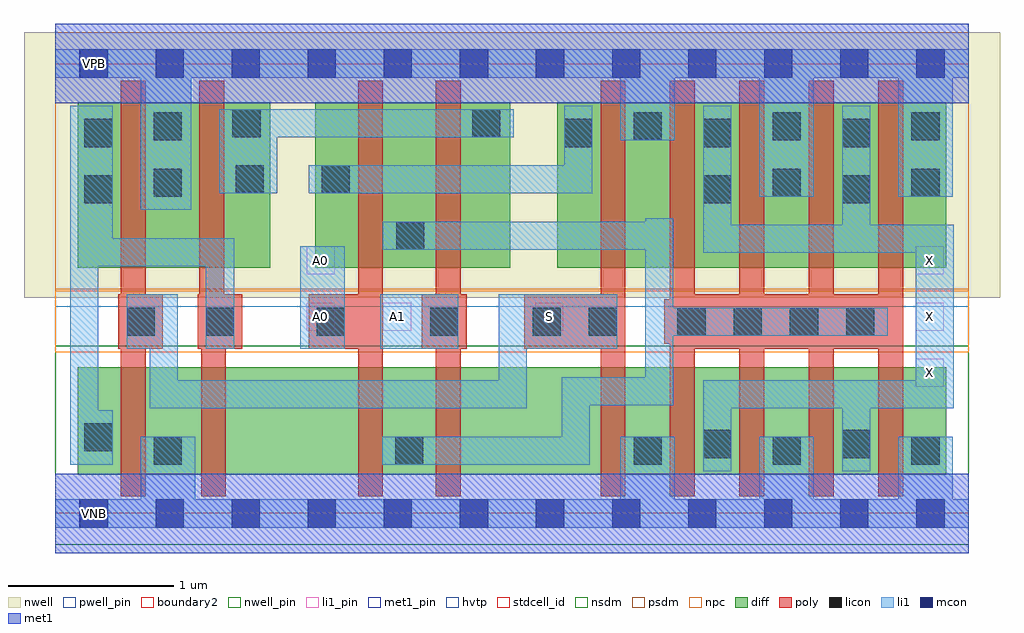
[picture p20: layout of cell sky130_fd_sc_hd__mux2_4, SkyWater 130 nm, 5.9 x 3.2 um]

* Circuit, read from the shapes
.subckt sky130_fd_sc_hd__mux2_4 A0 A1 S VGND VNB VPB VPWR X
XM1 VGND S n1 VNB sky130_fd_pr__nfet_01v8 w=0.65 l=0.15
XM2 n2 n1 VGND VNB sky130_fd_pr__nfet_01v8 w=0.65 l=0.15
XM3 n3 A0 n2 VNB sky130_fd_pr__nfet_01v8 w=0.65 l=0.15
XM4 n4 A1 n3 VNB sky130_fd_pr__nfet_01v8 w=0.65 l=0.15
XM5 VGND S n4 VNB sky130_fd_pr__nfet_01v8 w=0.65 l=0.15
XM6 X n3 VGND VNB sky130_fd_pr__nfet_01v8 w=0.65 l=0.15 m=4
XM7 VPWR S n1 VPB sky130_fd_pr__pfet_01v8_hvt w=1 l=0.15
XM8 n5 n1 VPWR VPB sky130_fd_pr__pfet_01v8_hvt w=1 l=0.15
XM9 n3 A0 n6 VPB sky130_fd_pr__pfet_01v8_hvt w=1 l=0.15
XM10 n5 A1 n3 VPB sky130_fd_pr__pfet_01v8_hvt w=1 l=0.15
XM11 VPWR S n6 VPB sky130_fd_pr__pfet_01v8_hvt w=1 l=0.15
XM12 X n3 VPWR VPB sky130_fd_pr__pfet_01v8_hvt w=1 l=0.15 m=4
.ends

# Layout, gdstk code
import gdstk
lib = gdstk.Library(unit=1e-6, precision=1e-09)
def R(c, l, rs):  # rectangles x0, y0, x1, y1
    for r in rs: c.add(gdstk.rectangle(r[:2], r[2:], *l))
def A(c, l, x, y, w, h, nx, ny, dx, dy):  # array of equal rectangles
    R(c, l, [(x+i*dx, y+j*dy, x+i*dx+w, y+j*dy+h) for i in range(nx) for j in range(ny)])
def P(c, l, *ps):  # polygons
    for p in ps: c.add(gdstk.Polygon(p, *l))
nwell_pin = (64, 16)
nwell = (64, 20)
diff = (65, 20)
poly = (66, 20)
licon = (66, 44)
li1_pin = (67, 16)
li1 = (67, 20)
mcon = (67, 44)
met1_pin = (68, 16)
met1 = (68, 20)
hvtp = (78, 44)
stdcell_id = (81, 4)
nsdm = (93, 44)
psdm = (94, 20)
npc = (95, 20)
pwell_pin = (122, 16)
boundary2 = (236, 0)

sky130_fd_sc_hd__mux2_4 = lib.new_cell('sky130_fd_sc_hd__mux2_4')
R(sky130_fd_sc_hd__mux2_4, nwell_pin, [(0.15,2.635,0.32,2.805)])
R(sky130_fd_sc_hd__mux2_4, nwell, [(-0.19,1.305,5.71,2.91)])
R(sky130_fd_sc_hd__mux2_4, diff, [(0.135,0.235,5.385,0.885), (0.135,1.485,1.3,2.485), (1.57,1.485,2.75,2.485), (3.035,1.485,5.385,2.485)])
P(sky130_fd_sc_hd__mux2_4, poly, [(5.125,2.615),(4.975,2.615),(4.975,1.325),(4.705,1.325),(4.705,2.615),(4.555,2.615),(4.555,1.325),(4.285,1.325),(4.285,2.615),(4.135,2.615),(4.135,1.325),(3.865,1.325),(3.865,2.615),(3.715,2.615),(3.715,1.295),(3.68,1.295),(3.68,1.025),(3.715,1.025),(3.715,0.105),(3.865,0.105),(3.865,0.995),(4.135,0.995),(4.135,0.105),(4.285,0.105),(4.285,0.995),(4.555,0.995),(4.555,0.105),(4.705,0.105),(4.705,0.995),(4.975,0.995),(4.975,0.105),(5.125,0.105)],
  [(3.445,2.615),(3.295,2.615),(3.295,1.325),(2.835,1.325),(2.835,0.995),(3.295,0.995),(3.295,0.105),(3.445,0.105)],
  [(0.65,1.325),(0.545,1.325),(0.545,2.615),(0.395,2.615),(0.395,1.325),(0.38,1.325),(0.38,0.995),(0.395,0.995),(0.395,0.105),(0.545,0.105),(0.545,0.995),(0.65,0.995)],
  [(2.485,1.325),(2.45,1.325),(2.45,2.615),(2.3,2.615),(2.3,1.325),(2.215,1.325),(2.215,0.995),(2.3,0.995),(2.3,0.105),(2.45,0.105),(2.45,0.995),(2.485,0.995)],
  [(1.98,2.615),(1.83,2.615),(1.83,1.325),(1.53,1.325),(1.53,0.995),(1.83,0.995),(1.83,0.105),(1.98,0.105)],
  [(1.13,1.325),(1.02,1.325),(1.02,2.615),(0.87,2.615),(0.87,1.325),(0.86,1.325),(0.86,0.995),(0.88,0.995),(0.88,0.105),(1.03,0.105),(1.03,0.995),(1.13,0.995)])
A(sky130_fd_sc_hd__mux2_4, licon, 3.495, 0.295, 0.17, 0.17, 3, 2, 0.84, 1.96)
A(sky130_fd_sc_hd__mux2_4, licon, 3.76, 1.075, 0.17, 0.17, 4, 1, 0.34, 0)
A(sky130_fd_sc_hd__mux2_4, licon, 3.075, 2.215, 0.17, 0.17, 3, 1, 0.84, 0)
R(sky130_fd_sc_hd__mux2_4, licon, [(0.595,0.295,0.765,0.465), (2.055,0.295,2.225,0.465), (3.915,0.335,4.085,0.505), (4.755,0.335,4.925,0.505), (0.175,0.375,0.345,0.545), (0.43,1.075,0.6,1.245), (0.91,1.075,1.08,1.245), (1.58,1.075,1.75,1.245), (2.265,1.075,2.435,1.245), (2.885,1.075,3.055,1.245), (3.225,1.075,3.395,1.245), (2.06,1.595,2.23,1.765), (0.175,1.875,0.345,2.045), (3.915,1.875,4.085,2.045), (4.755,1.875,4.925,2.045), (0.595,1.915,0.765,2.085), (4.335,1.915,4.505,2.085), (5.175,1.915,5.345,2.085), (1.09,1.935,1.26,2.105), (1.61,1.935,1.78,2.105), (0.175,2.215,0.345,2.385), (0.595,2.255,0.765,2.425), (1.07,2.275,1.24,2.445), (2.52,2.275,2.69,2.445)])
A(sky130_fd_sc_hd__mux2_4, li1_pin, 5.2, 0.765, 0.17, 0.17, 1, 3, 0, 0.34)
R(sky130_fd_sc_hd__mux2_4, li1_pin, [(1.52,1.105,1.69,1.275), (1.98,1.105,2.15,1.275), (2.9,1.105,3.07,1.275), (1.52,1.445,1.69,1.615)])
R(sky130_fd_sc_hd__mux2_4, li1, [(1.48,0.995,1.75,1.615), (1.965,0.995,2.435,1.325)])
P(sky130_fd_sc_hd__mux2_4, li1, [(5.52,0.085),(5.425,0.085),(5.425,0.465),(5.095,0.465),(5.095,0.085),(4.585,0.085),(4.585,0.465),(4.255,0.465),(4.255,0.085),(3.745,0.085),(3.745,0.465),(3.415,0.465),(3.415,0.085),(0.845,0.085),(0.845,0.465),(0.515,0.465),(0.515,0.085),(0,0.085),(0,-0.085),(5.52,-0.085)],
  [(5.52,2.805),(0,2.805),(0,2.635),(0.515,2.635),(0.515,1.835),(0.82,1.835),(0.82,2.635),(3.415,2.635),(3.415,2.255),(3.745,2.255),(3.745,2.635),(4.255,2.635),(4.255,1.915),(4.585,1.915),(4.585,2.635),(5.095,2.635),(5.095,1.915),(5.425,1.915),(5.425,2.635),(5.52,2.635)],
  [(5.43,1.745),(4.925,1.745),(4.925,2.465),(4.755,2.465),(4.755,1.745),(4.085,1.745),(4.085,2.465),(3.915,2.465),(3.915,1.575),(5.2,1.575),(5.2,0.805),(3.915,0.805),(3.915,0.255),(4.085,0.255),(4.085,0.635),(4.755,0.635),(4.755,0.255),(4.925,0.255),(4.925,0.635),(5.43,0.635)],
  [(1.08,1.665),(0.345,1.665),(0.345,2.465),(0.09,2.465),(0.09,0.295),(0.345,0.295),(0.345,0.625),(0.26,0.625),(0.26,1.495),(0.91,1.495),(0.91,0.995),(1.08,0.995)],
  [(5.03,1.245),(3.735,1.245),(3.735,1.785),(3.565,1.785),(3.565,1.765),(1.98,1.765),(1.98,1.595),(3.565,1.595),(3.565,0.825),(3.06,0.825),(3.06,0.465),(1.975,0.465),(1.975,0.295),(3.23,0.295),(3.23,0.655),(3.735,0.655),(3.735,1.075),(5.03,1.075)],
  [(3.395,1.325),(2.68,1.325),(2.68,0.805),(0.74,0.805),(0.74,1.325),(0.43,1.325),(0.43,0.995),(0.57,0.995),(0.57,0.635),(2.85,0.635),(2.85,0.995),(3.395,0.995)],
  [(2.77,2.445),(0.99,2.445),(0.99,1.935),(1.34,1.935),(1.34,2.275),(2.77,2.275)],
  [(3.245,2.465),(3.075,2.465),(3.075,2.105),(1.53,2.105),(1.53,1.935),(3.245,1.935)])
A(sky130_fd_sc_hd__mux2_4, mcon, 0.145, -0.085, 0.17, 0.17, 12, 2, 0.46, 2.72)
R(sky130_fd_sc_hd__mux2_4, met1_pin, [(0.15,-0.085,0.32,0.085), (0.15,2.635,0.32,2.805)])
R(sky130_fd_sc_hd__mux2_4, hvtp, [(0,1.25,5.52,2.72)])
R(sky130_fd_sc_hd__mux2_4, stdcell_id, [(0,0,5.52,2.72)])
R(sky130_fd_sc_hd__mux2_4, nsdm, [(0,-0.19,5.52,1.015)])
R(sky130_fd_sc_hd__mux2_4, psdm, [(0,1.355,5.52,2.91)])
R(sky130_fd_sc_hd__mux2_4, npc, [(0,0.975,5.52,1.345)])
R(sky130_fd_sc_hd__mux2_4, pwell_pin, [(0.15,-0.085,0.32,0.085)])
R(sky130_fd_sc_hd__mux2_4, boundary2, [(0,0,5.52,2.72)])
sky130_fd_sc_hd__mux2_4.add(gdstk.FlexPath([(0,2.72),(5.52,2.72)], 0.48, ends="flush", simple_path=True, layer=68, datatype=20))  # met1
sky130_fd_sc_hd__mux2_4.add(gdstk.FlexPath([(0,0),(5.52,0)], 0.48, ends="flush", simple_path=True, layer=68, datatype=20))  # met1
sky130_fd_sc_hd__mux2_4.add(gdstk.Label('X', (5.285,0.85), layer=67, texttype=5))
sky130_fd_sc_hd__mux2_4.add(gdstk.Label('X', (5.285,1.19), layer=67, texttype=5))
sky130_fd_sc_hd__mux2_4.add(gdstk.Label('X', (5.285,1.53), layer=67, texttype=5))
sky130_fd_sc_hd__mux2_4.add(gdstk.Label('S', (2.985,1.19), layer=67, texttype=5))
sky130_fd_sc_hd__mux2_4.add(gdstk.Label('A0', (1.605,1.19), layer=67, texttype=5))
sky130_fd_sc_hd__mux2_4.add(gdstk.Label('A1', (2.065,1.19), layer=67, texttype=5))
sky130_fd_sc_hd__mux2_4.add(gdstk.Label('A0', (1.605,1.53), layer=67, texttype=5))
sky130_fd_sc_hd__mux2_4.add(gdstk.Label('VNB', (0.235,0), layer=64, texttype=59))
sky130_fd_sc_hd__mux2_4.add(gdstk.Label('VPB', (0.235,2.72), layer=64, texttype=5))
sky130_fd_sc_hd__mux2_4.add(gdstk.Label('VPWR', (0.235,2.72), layer=68, texttype=5))
sky130_fd_sc_hd__mux2_4.add(gdstk.Label('VGND', (0.235,0), layer=68, texttype=5))
sky130_fd_sc_hd__mux2_4.add(gdstk.Label('mux2_4', (0,0), layer=83, texttype=44))

lib.write_gds('sky130_fd_sc_hd__mux2_4.gds')
